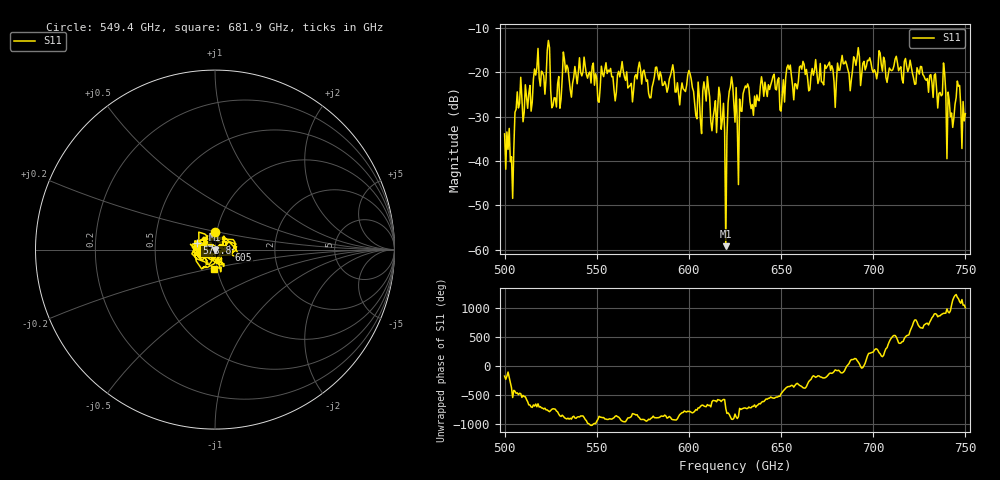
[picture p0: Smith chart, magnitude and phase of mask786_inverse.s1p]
!Created with skrf (http://scikit-rf.org).
# GHz S MA R 50.0
!freq magS11 angS11
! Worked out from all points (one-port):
!   401 points, 500 GHz to 750 GHz, reference 50 ohm
!   lowest |S11| = -59.2 dB at 620 GHz (marker M1), VSWR 1.00, Z = 50.1 - j0.0162 ohm
!   |S11| at or under -10 dB: start of sweep to end of sweep
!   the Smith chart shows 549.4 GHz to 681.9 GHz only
!   S11 on the Smith chart (normalised r, x): 549.4 GHz: 0.98, +0.19; 573.8 GHz: 0.81, +0.06; 605 GHz: 1.17, +0.00; 681.9 GHz: 0.96, -0.21
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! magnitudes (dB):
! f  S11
! 500 GHz  -33.9
! 503.8 GHz  -39.0
! 507.5 GHz  -28.0
! 513.8 GHz  -22.9
! 516.9 GHz  -20.6
! 523.8 GHz  -12.8
! 526.9 GHz  -25.7
! 531.2 GHz  -21.5
! 549.4 GHz  -20.3
! 562.5 GHz  -21.0
! 573.8 GHz  -19.3
! 593.8 GHz  -22.3
! 600.6 GHz  -20.3
! 605 GHz  -22.2
! 609.4 GHz  -26.4
! 617.5 GHz  -32.8
! 618.8 GHz  -27.0
! 620 GHz  -59.2
! 622.5 GHz  -23.3
! 625 GHz  -31.2
! 627.5 GHz  -26.0
! 631.2 GHz  -23.4
! 635 GHz  -29.7
! 656.2 GHz  -23.0
! 681.9 GHz  -19.5
! 687.5 GHz  -24.1
! 718.8 GHz  -19.8
! 750 GHz  -29.3
